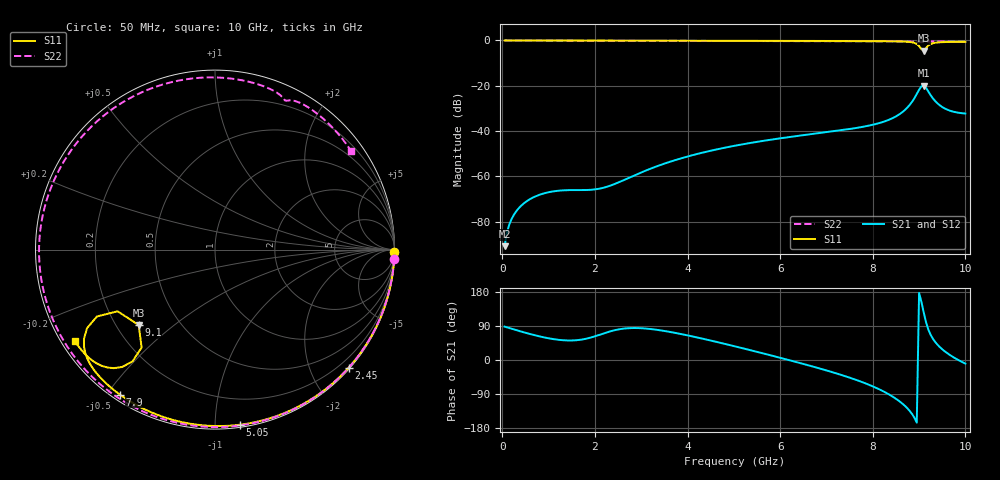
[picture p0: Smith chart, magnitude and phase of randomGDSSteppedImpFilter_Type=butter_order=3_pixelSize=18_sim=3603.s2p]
! freq	dB(S11)	phase(S11)	dB(S12)	phase(S12)
!  dB(S21)	phase(S21)	dB(S22)	phase(S22)
!S-par simulation data
#  GHz  S  DB  R 50
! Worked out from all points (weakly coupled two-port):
!   200 points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, 50 MHz to 10 GHz, reference 50 ohm
!   highest |S21| = -19.92 dB at 9.1 GHz (marker M1); lowest = -90.9 dB at 50 MHz (marker M2)
!   lowest |S11| = -4.5 dB at 9.1 GHz (marker M3), VSWR 3.97, Z = 14.6 - j19 ohm
!   |S11| at or under -10 dB: nowhere
!   |S22| runs from -0.7 to 0.0 dB; largest |S21 - S12| = 0
!   S11 on the Smith chart (normalised r, x): 50 MHz: open; 2.45 GHz: 0.02, -2.65; 5.05 GHz: 0.02, -1.15; 7.9 GHz: 0.02, -0.54; 9.1 GHz: 0.29, -0.38; 10 GHz: 0.04, -0.30
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0.05  -0.00 -0.9  -90.86 88.1  -90.86 88.1  -0.00 -2.9
0.15  -0.00 -2.6  -81.36 84.4  -81.36 84.4  -0.01 -8.7
0.4  -0.01 -6.9  -73.15 75.3  -73.15 75.3  -0.03 -23.0
0.75  -0.02 -12.9  -68.58 63.9  -68.58 63.9  -0.05 -42.4
1.25  -0.03 -21.4  -66.30 52.8  -66.30 52.8  -0.08 -68.0
1.75  -0.04 -29.8  -66.08 54.6  -66.08 54.6  -0.10 -90.9
2.45  -0.05 -41.4  -63.20 79.3  -63.20 79.3  -0.12 -118.4
3.4  -0.07 -56.7  -55.12 78.6  -55.12 78.6  -0.14 -149.3
4.2  -0.10 -69.1  -50.18 59.7  -50.18 59.7  -0.16 -171.6
5.05  -0.13 -81.9  -46.39 35.3  -46.39 35.3  -0.19 166.7
6.7  -0.21 -105.8  -41.31 -17.1  -41.31 -17.1  -0.27 126.4
7.9  -0.30 -123.3  -37.69 -64.5  -37.69 -64.5  -0.34 96.0
8.35  -0.36 -130.6  -35.02 -90.8  -35.02 -90.8  -0.38 83.9
8.65  -0.48 -136.8  -31.47 -116.2  -31.47 -116.2  -0.43 75.6
8.9  -1.08 -145.8  -25.46 -152.6  -25.46 -152.6  -0.54 68.3
9  -2.43 -150.5  -21.79 177.3  -21.79 177.3  -0.68 65.7
9.05  -3.84 -147.7  -20.27 153.6  -20.27 153.6  -0.74 64.9
9.1  -4.47 -135.4  -19.92 125.4  -19.92 125.4  -0.72 64.3
9.2  -2.22 -126.4  -22.54 80.4  -22.54 80.4  -0.54 61.8
9.3  -1.22 -130.5  -25.61 55.8  -25.61 55.8  -0.48 58.5
9.6  -0.67 -139.3  -30.48 18.7  -30.48 18.7  -0.49 48.9
10  -0.61 -146.7  -32.27 -9.5  -32.27 -9.5  -0.57 36.0
